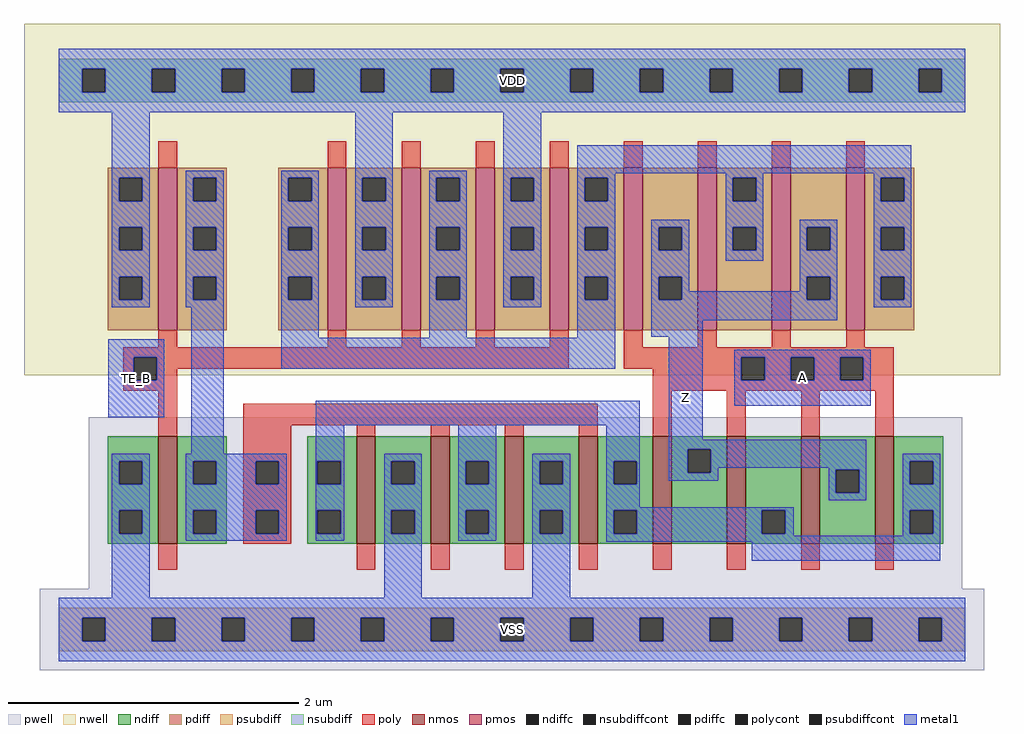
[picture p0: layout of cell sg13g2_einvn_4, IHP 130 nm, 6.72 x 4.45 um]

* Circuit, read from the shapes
.subckt sg13g2_einvn_4 A VSS VDD TE_B Z
XM1 n1 TE_B VSS VSS sg13_lv_nmos w=0.74u l=0.13u
XM2 VSS n1 n2 VSS sg13_lv_nmos w=0.74u l=0.13u m=4
XM3 Z A n2 VSS sg13_lv_nmos w=0.74u l=0.13u m=4
XM4 n1 TE_B VDD VDD sg13_lv_pmos w=1.12u l=0.13u
XM5 VDD TE_B n3 VDD sg13_lv_pmos w=1.12u l=0.13u m=4
XM6 Z A n3 VDD sg13_lv_pmos w=1.12u l=0.13u m=4
.ends

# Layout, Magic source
magic
tech ihp-sg13g2
magscale 1 2
<< nwell >>
rect -48 350 1296 834
<< pwell >>
rect 41 56 1244 292
rect -26 -56 1274 56
<< nmos >>
rect 137 118 163 266
rect 410 118 436 266
rect 512 118 538 266
rect 614 118 640 266
rect 716 118 742 266
rect 818 118 844 266
rect 920 118 946 266
rect 1022 118 1048 266
rect 1124 118 1150 266
<< pmos >>
rect 137 412 163 636
rect 370 412 396 636
rect 472 412 498 636
rect 574 412 600 636
rect 676 412 702 636
rect 778 412 804 636
rect 880 412 906 636
rect 982 412 1008 636
rect 1084 412 1110 636
<< ndiff >>
rect 67 232 137 266
rect 67 200 83 232
rect 115 200 137 232
rect 67 164 137 200
rect 67 132 83 164
rect 115 132 137 164
rect 67 118 137 132
rect 163 232 231 266
rect 163 200 185 232
rect 217 200 231 232
rect 163 164 231 200
rect 163 132 185 164
rect 217 132 231 164
rect 163 118 231 132
rect 342 232 410 266
rect 342 200 356 232
rect 388 200 410 232
rect 342 164 410 200
rect 342 132 356 164
rect 388 132 410 164
rect 342 118 410 132
rect 436 232 512 266
rect 436 200 458 232
rect 490 200 512 232
rect 436 164 512 200
rect 436 132 458 164
rect 490 132 512 164
rect 436 118 512 132
rect 538 232 614 266
rect 538 200 560 232
rect 592 200 614 232
rect 538 164 614 200
rect 538 132 560 164
rect 592 132 614 164
rect 538 118 614 132
rect 640 232 716 266
rect 640 200 662 232
rect 694 200 716 232
rect 640 164 716 200
rect 640 132 662 164
rect 694 132 716 164
rect 640 118 716 132
rect 742 232 818 266
rect 742 200 764 232
rect 796 200 818 232
rect 742 164 818 200
rect 742 132 764 164
rect 796 132 818 164
rect 742 118 818 132
rect 844 248 920 266
rect 844 216 866 248
rect 898 216 920 248
rect 844 118 920 216
rect 946 164 1022 266
rect 946 132 968 164
rect 1000 132 1022 164
rect 946 118 1022 132
rect 1048 220 1124 266
rect 1048 188 1070 220
rect 1102 188 1124 220
rect 1048 118 1124 188
rect 1150 232 1218 266
rect 1150 200 1172 232
rect 1204 200 1218 232
rect 1150 164 1218 200
rect 1150 132 1172 164
rect 1204 132 1218 164
rect 1150 118 1218 132
<< pdiff >>
rect 67 622 137 636
rect 67 590 83 622
rect 115 590 137 622
rect 67 554 137 590
rect 67 522 83 554
rect 115 522 137 554
rect 67 486 137 522
rect 67 454 83 486
rect 115 454 137 486
rect 67 412 137 454
rect 163 622 231 636
rect 163 590 185 622
rect 217 590 231 622
rect 163 554 231 590
rect 163 522 185 554
rect 217 522 231 554
rect 163 486 231 522
rect 163 454 185 486
rect 217 454 231 486
rect 163 412 231 454
rect 302 622 370 636
rect 302 590 316 622
rect 348 590 370 622
rect 302 554 370 590
rect 302 522 316 554
rect 348 522 370 554
rect 302 486 370 522
rect 302 454 316 486
rect 348 454 370 486
rect 302 412 370 454
rect 396 622 472 636
rect 396 590 418 622
rect 450 590 472 622
rect 396 554 472 590
rect 396 522 418 554
rect 450 522 472 554
rect 396 486 472 522
rect 396 454 418 486
rect 450 454 472 486
rect 396 412 472 454
rect 498 622 574 636
rect 498 590 520 622
rect 552 590 574 622
rect 498 554 574 590
rect 498 522 520 554
rect 552 522 574 554
rect 498 486 574 522
rect 498 454 520 486
rect 552 454 574 486
rect 498 412 574 454
rect 600 622 676 636
rect 600 590 622 622
rect 654 590 676 622
rect 600 554 676 590
rect 600 522 622 554
rect 654 522 676 554
rect 600 486 676 522
rect 600 454 622 486
rect 654 454 676 486
rect 600 412 676 454
rect 702 622 778 636
rect 702 590 724 622
rect 756 590 778 622
rect 702 554 778 590
rect 702 522 724 554
rect 756 522 778 554
rect 702 486 778 522
rect 702 454 724 486
rect 756 454 778 486
rect 702 412 778 454
rect 804 554 880 636
rect 804 522 826 554
rect 858 522 880 554
rect 804 486 880 522
rect 804 454 826 486
rect 858 454 880 486
rect 804 412 880 454
rect 906 622 982 636
rect 906 590 928 622
rect 960 590 982 622
rect 906 554 982 590
rect 906 522 928 554
rect 960 522 982 554
rect 906 412 982 522
rect 1008 554 1084 636
rect 1008 522 1030 554
rect 1062 522 1084 554
rect 1008 486 1084 522
rect 1008 454 1030 486
rect 1062 454 1084 486
rect 1008 412 1084 454
rect 1110 622 1178 636
rect 1110 590 1132 622
rect 1164 590 1178 622
rect 1110 554 1178 590
rect 1110 522 1132 554
rect 1164 522 1178 554
rect 1110 486 1178 522
rect 1110 454 1132 486
rect 1164 454 1178 486
rect 1110 412 1178 454
<< ndiffc >>
rect 83 200 115 232
rect 83 132 115 164
rect 185 200 217 232
rect 185 132 217 164
rect 356 200 388 232
rect 356 132 388 164
rect 458 200 490 232
rect 458 132 490 164
rect 560 200 592 232
rect 560 132 592 164
rect 662 200 694 232
rect 662 132 694 164
rect 764 200 796 232
rect 764 132 796 164
rect 866 216 898 248
rect 968 132 1000 164
rect 1070 188 1102 220
rect 1172 200 1204 232
rect 1172 132 1204 164
<< pdiffc >>
rect 83 590 115 622
rect 83 522 115 554
rect 83 454 115 486
rect 185 590 217 622
rect 185 522 217 554
rect 185 454 217 486
rect 316 590 348 622
rect 316 522 348 554
rect 316 454 348 486
rect 418 590 450 622
rect 418 522 450 554
rect 418 454 450 486
rect 520 590 552 622
rect 520 522 552 554
rect 520 454 552 486
rect 622 590 654 622
rect 622 522 654 554
rect 622 454 654 486
rect 724 590 756 622
rect 724 522 756 554
rect 724 454 756 486
rect 826 522 858 554
rect 826 454 858 486
rect 928 590 960 622
rect 928 522 960 554
rect 1030 522 1062 554
rect 1030 454 1062 486
rect 1132 590 1164 622
rect 1132 522 1164 554
rect 1132 454 1164 486
<< psubdiff >>
rect 0 16 1248 30
rect 0 -16 32 16
rect 64 -16 128 16
rect 160 -16 224 16
rect 256 -16 320 16
rect 352 -16 416 16
rect 448 -16 512 16
rect 544 -16 608 16
rect 640 -16 704 16
rect 736 -16 800 16
rect 832 -16 896 16
rect 928 -16 992 16
rect 1024 -16 1088 16
rect 1120 -16 1184 16
rect 1216 -16 1248 16
rect 0 -30 1248 -16
<< nsubdiff >>
rect 0 772 1248 786
rect 0 740 32 772
rect 64 740 128 772
rect 160 740 224 772
rect 256 740 320 772
rect 352 740 416 772
rect 448 740 512 772
rect 544 740 608 772
rect 640 740 704 772
rect 736 740 800 772
rect 832 740 896 772
rect 928 740 992 772
rect 1024 740 1088 772
rect 1120 740 1184 772
rect 1216 740 1248 772
rect 0 726 1248 740
<< psubdiffcont >>
rect 32 -16 64 16
rect 128 -16 160 16
rect 224 -16 256 16
rect 320 -16 352 16
rect 416 -16 448 16
rect 512 -16 544 16
rect 608 -16 640 16
rect 704 -16 736 16
rect 800 -16 832 16
rect 896 -16 928 16
rect 992 -16 1024 16
rect 1088 -16 1120 16
rect 1184 -16 1216 16
<< nsubdiffcont >>
rect 32 740 64 772
rect 128 740 160 772
rect 224 740 256 772
rect 320 740 352 772
rect 416 740 448 772
rect 512 740 544 772
rect 608 740 640 772
rect 704 740 736 772
rect 800 740 832 772
rect 896 740 928 772
rect 992 740 1024 772
rect 1088 740 1120 772
rect 1184 740 1216 772
<< poly >>
rect 137 636 163 672
rect 370 636 396 672
rect 472 636 498 672
rect 574 636 600 672
rect 676 636 702 672
rect 778 636 804 672
rect 880 636 906 672
rect 982 636 1008 672
rect 1084 636 1110 672
rect 137 389 163 412
rect 370 389 396 412
rect 472 389 498 412
rect 574 389 600 412
rect 676 389 702 412
rect 89 375 702 389
rect 89 343 103 375
rect 135 359 702 375
rect 778 389 804 412
rect 880 389 906 412
rect 982 389 1008 412
rect 1084 389 1110 412
rect 778 375 1150 389
rect 778 359 940 375
rect 135 343 163 359
rect 89 329 163 343
rect 137 266 163 329
rect 818 343 940 359
rect 972 343 1008 375
rect 1040 343 1076 375
rect 1108 343 1150 375
rect 818 329 1150 343
rect 254 281 742 311
rect 254 232 320 281
rect 410 266 436 281
rect 512 266 538 281
rect 614 266 640 281
rect 716 266 742 281
rect 818 266 844 329
rect 920 266 946 329
rect 1022 266 1048 329
rect 1124 266 1150 329
rect 254 200 271 232
rect 303 200 320 232
rect 254 164 320 200
rect 254 132 271 164
rect 303 132 320 164
rect 254 118 320 132
rect 137 82 163 118
rect 410 82 436 118
rect 512 82 538 118
rect 614 82 640 118
rect 716 82 742 118
rect 818 82 844 118
rect 920 82 946 118
rect 1022 82 1048 118
rect 1124 82 1150 118
<< polycont >>
rect 103 343 135 375
rect 940 343 972 375
rect 1008 343 1040 375
rect 1076 343 1108 375
rect 271 200 303 232
rect 271 132 303 164
<< metal1 >>
rect 0 772 1248 800
rect 0 740 32 772
rect 64 740 128 772
rect 160 740 224 772
rect 256 740 320 772
rect 352 740 416 772
rect 448 740 512 772
rect 544 740 608 772
rect 640 740 704 772
rect 736 740 800 772
rect 832 740 896 772
rect 928 740 992 772
rect 1024 740 1088 772
rect 1120 740 1184 772
rect 1216 740 1248 772
rect 0 712 1248 740
rect 73 622 125 712
rect 73 590 83 622
rect 115 590 125 622
rect 73 554 125 590
rect 73 522 83 554
rect 115 522 125 554
rect 73 486 125 522
rect 73 454 83 486
rect 115 454 125 486
rect 73 444 125 454
rect 175 622 227 632
rect 175 590 185 622
rect 217 590 227 622
rect 175 554 227 590
rect 175 522 185 554
rect 217 522 227 554
rect 175 486 227 522
rect 175 454 185 486
rect 217 454 227 486
rect 175 444 227 454
rect 68 375 145 400
rect 68 343 103 375
rect 135 343 145 375
rect 68 292 145 343
rect 182 242 227 444
rect 306 622 358 632
rect 306 590 316 622
rect 348 590 358 622
rect 306 554 358 590
rect 306 522 316 554
rect 348 522 358 554
rect 306 486 358 522
rect 306 454 316 486
rect 348 454 358 486
rect 306 402 358 454
rect 408 622 460 712
rect 408 590 418 622
rect 450 590 460 622
rect 408 554 460 590
rect 408 522 418 554
rect 450 522 460 554
rect 408 486 460 522
rect 408 454 418 486
rect 450 454 460 486
rect 408 444 460 454
rect 510 622 562 632
rect 510 590 520 622
rect 552 590 562 622
rect 510 554 562 590
rect 510 522 520 554
rect 552 522 562 554
rect 510 486 562 522
rect 510 454 520 486
rect 552 454 562 486
rect 510 402 562 454
rect 612 622 664 712
rect 612 590 622 622
rect 654 590 664 622
rect 612 554 664 590
rect 612 522 622 554
rect 654 522 664 554
rect 612 486 664 522
rect 612 454 622 486
rect 654 454 664 486
rect 612 444 664 454
rect 714 628 1174 667
rect 714 622 766 628
rect 714 590 724 622
rect 756 590 766 622
rect 714 554 766 590
rect 918 622 970 628
rect 918 590 928 622
rect 960 590 970 622
rect 714 522 724 554
rect 756 522 766 554
rect 714 486 766 522
rect 714 454 724 486
rect 756 454 766 486
rect 714 402 766 454
rect 816 554 868 564
rect 816 522 826 554
rect 858 522 868 554
rect 816 486 868 522
rect 918 554 970 590
rect 1122 622 1174 628
rect 1122 590 1132 622
rect 1164 590 1174 622
rect 918 522 928 554
rect 960 522 970 554
rect 918 508 970 522
rect 1020 554 1072 564
rect 1020 522 1030 554
rect 1062 522 1072 554
rect 816 454 826 486
rect 858 466 868 486
rect 1020 486 1072 522
rect 1020 466 1030 486
rect 858 454 1030 466
rect 1062 454 1072 486
rect 816 426 1072 454
rect 1122 554 1174 590
rect 1122 522 1132 554
rect 1164 522 1174 554
rect 1122 486 1174 522
rect 1122 454 1132 486
rect 1164 454 1174 486
rect 1122 444 1174 454
rect 816 403 887 426
rect 306 359 766 402
rect 354 281 800 315
rect 73 232 125 242
rect 73 200 83 232
rect 115 200 125 232
rect 73 164 125 200
rect 73 132 83 164
rect 115 132 125 164
rect 73 44 125 132
rect 175 232 314 242
rect 175 200 185 232
rect 217 200 271 232
rect 303 200 314 232
rect 175 164 314 200
rect 175 132 185 164
rect 217 132 271 164
rect 303 132 314 164
rect 175 122 314 132
rect 354 232 393 281
rect 354 200 356 232
rect 388 200 393 232
rect 354 164 393 200
rect 354 132 356 164
rect 388 132 393 164
rect 354 122 393 132
rect 448 232 500 242
rect 448 200 458 232
rect 490 200 500 232
rect 448 164 500 200
rect 448 132 458 164
rect 490 132 500 164
rect 448 44 500 132
rect 550 232 602 281
rect 550 200 560 232
rect 592 200 602 232
rect 550 164 602 200
rect 550 132 560 164
rect 592 132 602 164
rect 550 122 602 132
rect 652 232 704 242
rect 652 200 662 232
rect 694 200 704 232
rect 652 164 704 200
rect 652 132 662 164
rect 694 132 704 164
rect 652 44 704 132
rect 754 232 800 281
rect 754 200 764 232
rect 796 200 800 232
rect 840 261 887 403
rect 930 375 1118 385
rect 930 343 940 375
rect 972 343 1008 375
rect 1040 343 1076 375
rect 1108 343 1118 375
rect 930 308 1118 343
rect 840 248 1112 261
rect 840 216 866 248
rect 898 223 1112 248
rect 898 216 908 223
rect 840 205 908 216
rect 1060 220 1112 223
rect 754 168 800 200
rect 1060 188 1070 220
rect 1102 188 1112 220
rect 1060 178 1112 188
rect 1162 232 1214 242
rect 1162 200 1172 232
rect 1204 200 1214 232
rect 754 164 1012 168
rect 754 132 764 164
rect 796 132 968 164
rect 1000 132 1012 164
rect 754 129 1012 132
rect 1162 164 1214 200
rect 1162 132 1172 164
rect 1204 132 1214 164
rect 1162 129 1214 132
rect 754 121 1214 129
rect 954 95 1214 121
rect 0 16 1248 44
rect 0 -16 32 16
rect 64 -16 128 16
rect 160 -16 224 16
rect 256 -16 320 16
rect 352 -16 416 16
rect 448 -16 512 16
rect 544 -16 608 16
rect 640 -16 704 16
rect 736 -16 800 16
rect 832 -16 896 16
rect 928 -16 992 16
rect 1024 -16 1088 16
rect 1120 -16 1184 16
rect 1216 -16 1248 16
rect 0 -44 1248 -16
<< labels >>
flabel metal1 s 930 308 1118 385 0 FreeSans 400 0 0 0 A
port 2 nsew
flabel metal1 s 0 -44 1248 44 0 FreeSans 400 0 0 0 VSS
port 3 nsew
flabel metal1 s 0 712 1248 800 0 FreeSans 400 0 0 0 VDD
port 4 nsew
flabel metal1 s 68 292 145 400 0 FreeSans 400 0 0 0 TE_B
port 5 nsew
flabel metal1 s 840 205 887 434 0 FreeSans 400 0 0 0 Z
port 6 nsew
<< properties >>
string FIXED_BBOX 0 0 1248 756
<< end >>
